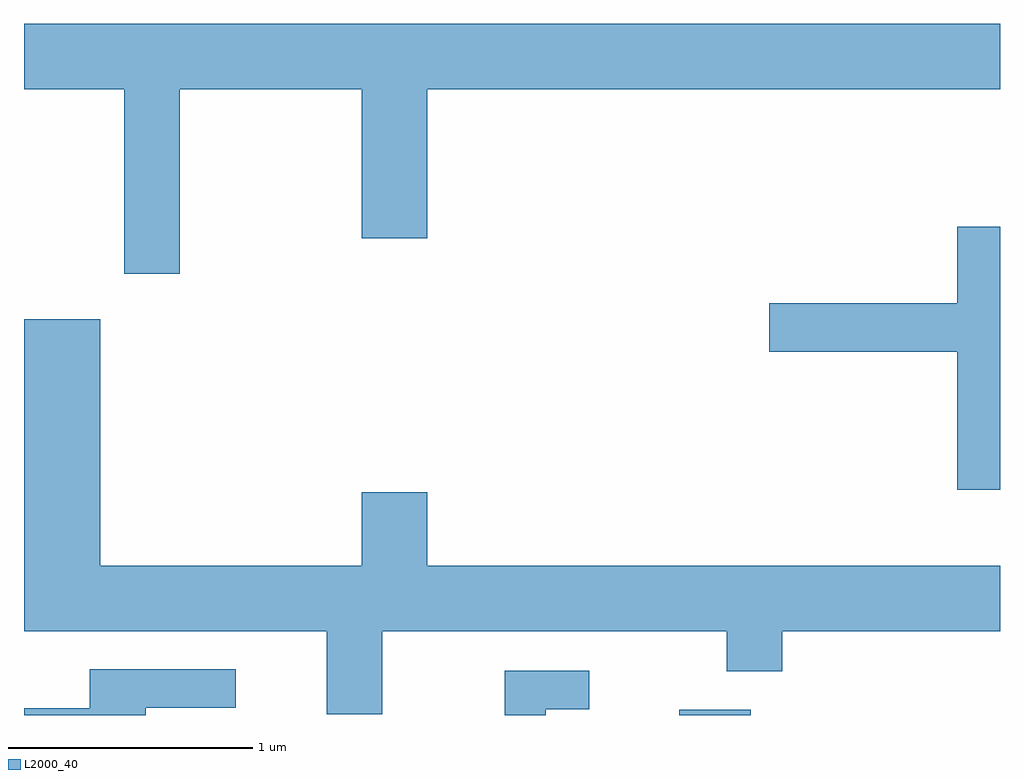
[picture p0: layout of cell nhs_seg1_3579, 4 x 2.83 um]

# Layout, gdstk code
import gdstk
lib = gdstk.Library(unit=1e-6, precision=1e-09)
def R(c, l, rs):  # rectangles x0, y0, x1, y1
    for r in rs: c.add(gdstk.rectangle(r[:2], r[2:], *l))
def P(c, l, *ps):  # polygons
    for p in ps: c.add(gdstk.Polygon(p, *l))
L2000_40 = (2000, 40)

nhs_seg1_3579 = lib.new_cell('nhs_seg1_3579')
R(nhs_seg1_3579, L2000_40, [(296.296,863.712,296.589,863.734)])
P(nhs_seg1_3579, L2000_40, [(294.249,866.276),(294.996,866.276),(294.996,865.666),(295.264,865.666),(295.264,866.276),(297.611,866.276),(297.611,866.544),(293.611,866.544),(293.611,866.276),(294.021,866.276),(294.021,865.521),(294.249,865.521)],
  [(297.611,865.714),(297.436,865.714),(297.436,865.399),(296.666,865.399),(296.666,865.201),(297.436,865.201),(297.436,864.636),(297.611,864.636)],
  [(295.079,864.056),(296.491,864.056),(296.491,863.891),(296.719,863.891),(296.719,864.056),(297.611,864.056),(297.611,864.324),(295.264,864.324),(295.264,864.624),(294.996,864.624),(294.996,864.324),(293.924,864.324),(293.924,865.334),(293.611,865.334),(293.611,864.056),(294.851,864.056),(294.851,863.716),(295.079,863.716)],
  [(294.109,863.741),(294.478,863.741),(294.478,863.899),(293.881,863.899),(293.881,863.739),(293.611,863.739),(293.611,863.712),(294.109,863.712)],
  [(295.749,863.736),(295.928,863.736),(295.928,863.894),(295.581,863.894),(295.581,863.712),(295.749,863.712)])

lib.write_gds('nhs_seg1_3579.gds')
